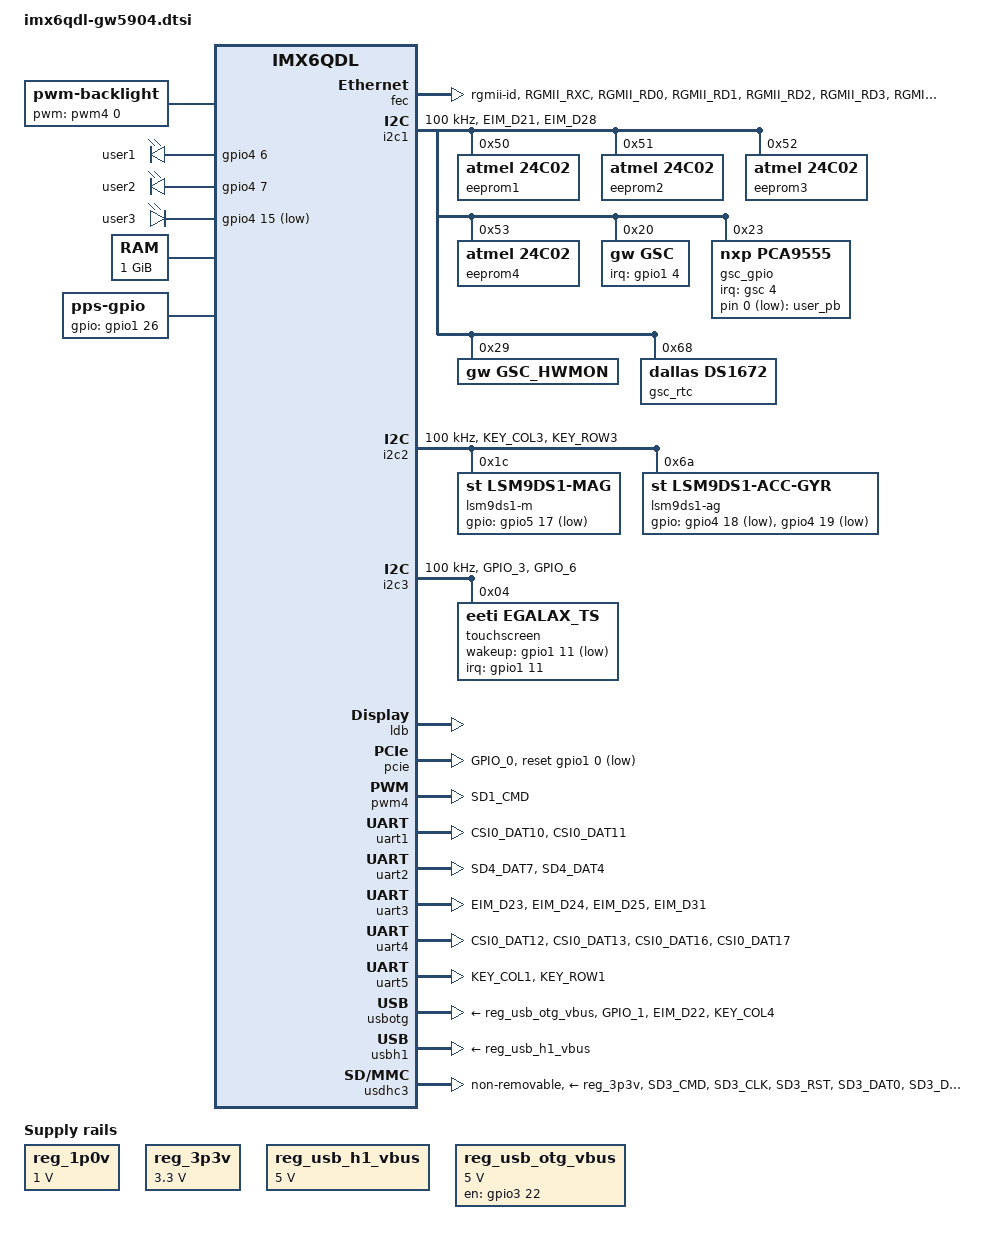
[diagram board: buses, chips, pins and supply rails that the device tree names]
/*
 * Copyright 2017 Gateworks Corporation
 *
 * The code contained herein is licensed under the GNU General Public
 * License. You may obtain a copy of the GNU General Public License
 * Version 2 or later at the following locations:
 *
 * http://www.opensource.org/licenses/gpl-license.html
 * http://www.gnu.org/copyleft/gpl.html
 */

#include <dt-bindings/gpio/gpio.h>

/ {
	/* these are used by bootloader for disabling nodes */
	aliases {
		led0 = &led0;
		led1 = &led1;
		led2 = &led2;
		usb0 = &usbh1;
		usb1 = &usbotg;
	};

	chosen {
		bootargs = "console=ttymxc1,115200";
	};

	backlight {
		compatible = "pwm-backlight";
		pwms = <&pwm4 0 5000000>;
		brightness-levels = <0 4 8 16 32 64 128 255>;
		default-brightness-level = <7>;
	};

	leds {
		compatible = "gpio-leds";
		pinctrl-names = "default";
		pinctrl-0 = <&pinctrl_gpio_leds>;

		led0: user1 {
			label = "user1";
			gpios = <&gpio4 6 GPIO_ACTIVE_HIGH>; /* MX6_PANLEDG */
			default-state = "on";
			linux,default-trigger = "heartbeat";
		};

		led1: user2 {
			label = "user2";
			gpios = <&gpio4 7 GPIO_ACTIVE_HIGH>; /* MX6_PANLEDR */
			default-state = "off";
		};

		led2: user3 {
			label = "user3";
			gpios = <&gpio4 15 GPIO_ACTIVE_LOW>; /* MX6_LOCLED# */
			default-state = "off";
		};
	};

	gpio_keys {
		compatible = "gpio-keys";
		#address-cells = <1>;
		#size-cells = <0>;

		user_pb {
			label = "user_pb";

			gpios = <&gsc_gpio 0 GPIO_ACTIVE_LOW>;
			linux,code = <256>;
		};
	};

	memory {
		reg = <0x10000000 0x40000000>;
	};

	pps {
		compatible = "pps-gpio";
		pinctrl-names = "default";
		pinctrl-0 = <&pinctrl_pps>;
		gpios = <&gpio1 26 GPIO_ACTIVE_HIGH>;
		status = "okay";
	};

	reg_1p0v: regulator-1p0v {
		compatible = "regulator-fixed";
		regulator-name = "1P0V";
		regulator-min-microvolt = <1000000>;
		regulator-max-microvolt = <1000000>;
		regulator-always-on;
	};

	reg_3p3v: regulator-3p3v {
		compatible = "regulator-fixed";
		regulator-name = "3P3V";
		regulator-min-microvolt = <3300000>;
		regulator-max-microvolt = <3300000>;
		regulator-always-on;
	};

	reg_usb_h1_vbus: regulator-usb-h1-vbus {
		compatible = "regulator-fixed";
		regulator-name = "usb_h1_vbus";
		regulator-min-microvolt = <5000000>;
		regulator-max-microvolt = <5000000>;
		regulator-always-on;
	};

	reg_usb_otg_vbus: regulator-usb-otg-vbus {
		compatible = "regulator-fixed";
		regulator-name = "usb_otg_vbus";
		regulator-min-microvolt = <5000000>;
		regulator-max-microvolt = <5000000>;
		gpio = <&gpio3 22 GPIO_ACTIVE_HIGH>;
		enable-active-high;
	};

	dsa {
		compatible = "marvell,dsa";
		#address-cells = <2>;
		#size-cells = <0>;

		dsa,ethernet = <&fec>;
		dsa,mii-bus = <&mdio>;

		switch@0 {
			#address-cells = <1>;
			#size-cells = <0>;
			reg = <0 0>; /* MDIO address 0, switch 0 in tree */

			port@0 {
				reg = <0>;
				label = "lan4";
			};

			port@1 {
				reg = <1>;
				label = "lan3";
			};

			port@2 {
				reg = <2>;
				label = "lan2";
			};

			port@3 {
				reg = <3>;
				label = "lan1";
			};

			port@5 {
				reg = <5>;
				label = "cpu";
				fixed-link {
					speed = <1000>;
					full-duplex;
				};
			};
		};
	};
};

&clks {
	assigned-clocks = <&clks IMX6QDL_CLK_LDB_DI0_SEL>,
			  <&clks IMX6QDL_CLK_LDB_DI1_SEL>;
	assigned-clock-parents = <&clks IMX6QDL_CLK_PLL3_USB_OTG>,
				 <&clks IMX6QDL_CLK_PLL3_USB_OTG>;
};

&fec {
	pinctrl-names = "default";
	pinctrl-0 = <&pinctrl_enet>;
	phy-mode = "rgmii-id";
	status = "okay";

	mdio: mdio {
		#address-cells = <1>;
		#size-cells = <0>;
	};
};

&i2c1 {
	clock-frequency = <100000>;
	pinctrl-names = "default";
	pinctrl-0 = <&pinctrl_i2c1>;
	status = "okay";

	eeprom1: eeprom@50 {
		compatible = "atmel,24c02";
		reg = <0x50>;
		pagesize = <16>;
	};

	eeprom2: eeprom@51 {
		compatible = "atmel,24c02";
		reg = <0x51>;
		pagesize = <16>;
	};

	eeprom3: eeprom@52 {
		compatible = "atmel,24c02";
		reg = <0x52>;
		pagesize = <16>;
	};

	eeprom4: eeprom@53 {
		compatible = "atmel,24c02";
		reg = <0x53>;
		pagesize = <16>;
	};

	gsc: gsc@20 {
		compatible = "gw,gsc";
		reg = <0x20>;
		interrupt-parent = <&gpio1>;
		interrupts = <4 1>;
		interrupt-controller;
		#interrupt-cells = <1>;

		/* GSC watchdog */
		watchdog {
			compatible = "gw,gsc_wdt";
			status = "okay";
		};

		/* Linux input events from GSC interrupt events */
		input {
			compatible = "gw,gsc_input";
			interrupt-parent = <&gsc>;
			interrupts = <0 1 2 5 7>;
			interrupt-names = "button", "key-erased", "eeprom-wp", "tamper", "button-held";
			status = "okay";
		};
	};

	gsc_gpio: pca9555@23 {
		compatible = "nxp,pca9555";
		reg = <0x23>;
		gpio-controller;
		#gpio-cells = <2>;
		interrupt-parent = <&gsc>;
		interrupts = <4>;
	};

	gsc_hwmon: hwmon@29 {
		compatible = "gw,gsc_hwmon";
		reg = <0x29>;
	};

	gsc_rtc: ds1672@68 {
		compatible = "dallas,ds1672";
		reg = <0x68>;
	};
};

&i2c2 {
	clock-frequency = <100000>;
	pinctrl-names = "default";
	pinctrl-0 = <&pinctrl_i2c2>;
	status = "okay";

	/* LSM9DS1 magnetic sensor */
	lsm9ds1-m@0x1c {
		compatible = "st,lsm9ds1-mag";
		reg = <0x1C>;
		pinctrl-names = "default";
		pinctrl-0 = <&pinctrl_imu_mag>;
		gpios = <&gpio5 17 GPIO_ACTIVE_LOW>; /* IRQ */
		rot-matrix = /bits/ 16 <(1) (0) (0)
			(0) (1) (0)
			(0) (0) (1)>;
		poll-interval = <100>;
		min-interval = <13>;
		fs-range = <0>;
	};

	/* LSM9DS1 accelerometer/gyroscope sensor */
	lsm9ds1-ag@0x6a {
		compatible = "st,lsm9ds1-acc-gyr";
		reg = <0x6A>;
		pinctrl-names = "default";
		pinctrl-0 = <&pinctrl_imu_acc>;
		gpios = <&gpio4 18 GPIO_ACTIVE_LOW>, /* INT1 */
		        <&gpio4 19 GPIO_ACTIVE_LOW>; /* INT2 */
		rot-matrix = /bits/ 16 <(1) (0) (0)
			(0) (1) (0)
			(0) (0) (1)>;
		g-poll-interval = <100>;
		g-min-interval = <2>;
		g-fs-range = <0>;
		x-poll-interval = <100>;
		x-min-interval = <1>;
		x-fs-range = <0>;
		aa-filter-bw = <0>;
	};
};

&i2c3 {
	clock-frequency = <100000>;
	pinctrl-names = "default";
	pinctrl-0 = <&pinctrl_i2c3>;
	status = "okay";

	touchscreen: egalax_ts@04 {
		compatible = "eeti,egalax_ts";
		reg = <0x04>;
		interrupt-parent = <&gpio1>;
		interrupts = <11 IRQ_TYPE_EDGE_FALLING>;
		wakeup-gpios = <&gpio1 11 GPIO_ACTIVE_LOW>;
	};
};

&ldb {
	status = "okay";

	lvds-channel@0 {
		fsl,data-mapping = "spwg";
		fsl,data-width = <18>;
		status = "okay";

		display-timings {
			native-mode = <&timing0>;
			timing0: hsd100pxn1 {
				clock-frequency = <65000000>;
				hactive = <1024>;
				vactive = <768>;
				hback-porch = <220>;
				hfront-porch = <40>;
				vback-porch = <21>;
				vfront-porch = <7>;
				hsync-len = <60>;
				vsync-len = <10>;
			};
		};
	};
};

&pcie {
	pinctrl-names = "default";
	pinctrl-0 = <&pinctrl_pcie>;
	reset-gpio = <&gpio1 0 GPIO_ACTIVE_LOW>;
	status = "okay";
};

&pwm2 {
	pinctrl-names = "default";
	pinctrl-0 = <&pinctrl_pwm2>; /* MX6_DIO1 */
	status = "disabled";
};

&pwm3 {
	pinctrl-names = "default";
	pinctrl-0 = <&pinctrl_pwm3>; /* MX6_DIO2 */
	status = "disabled";
};

&pwm4 {
	pinctrl-names = "default";
	pinctrl-0 = <&pinctrl_pwm4>;
	status = "okay";
};

&uart1 {
	pinctrl-names = "default";
	pinctrl-0 = <&pinctrl_uart1>;
	status = "okay";
};

&uart2 {
	pinctrl-names = "default";
	pinctrl-0 = <&pinctrl_uart2>;
	status = "okay";
};

&uart3 {
	pinctrl-names = "default";
	pinctrl-0 = <&pinctrl_uart3>;
	fsl,uart-has-rtscts;
	status = "okay";
};

&uart4 {
	pinctrl-names = "default";
	pinctrl-0 = <&pinctrl_uart4>;
	fsl,uart-has-rtscts;
	status = "okay";
};

&uart5 {
	pinctrl-names = "default";
	pinctrl-0 = <&pinctrl_uart5>;
	status = "okay";
};

&usbotg {
	vbus-supply = <&reg_usb_otg_vbus>;
	pinctrl-names = "default";
	pinctrl-0 = <&pinctrl_usbotg>;
	disable-over-current;
	status = "okay";
};

&usbh1 {
	vbus-supply = <&reg_usb_h1_vbus>;
	status = "okay";
};

&usdhc3 {
	pinctrl-names = "default", "state_100mhz", "state_200mhz";
	pinctrl-0 = <&pinctrl_usdhc3>;
	pinctrl-1 = <&pinctrl_usdhc3_100mhz>;
	pinctrl-2 = <&pinctrl_usdhc3_200mhz>;
	non-removable;
	vmmc-supply = <&reg_3p3v>;
	keep-power-in-suspend;
	status = "okay";
};

&wdog1 {
	pinctrl-names = "default";
	pinctrl-0 = <&pinctrl_wdog>;
	fsl,ext-reset-output;
};

&iomuxc {
	imx6qdl-gw5904 {
		pinctrl_enet: enetgrp {
			fsl,pins = <
				MX6QDL_PAD_RGMII_RXC__RGMII_RXC		0x1b0b0
				MX6QDL_PAD_RGMII_RD0__RGMII_RD0		0x1b0b0
				MX6QDL_PAD_RGMII_RD1__RGMII_RD1		0x1b0b0
				MX6QDL_PAD_RGMII_RD2__RGMII_RD2		0x1b0b0
				MX6QDL_PAD_RGMII_RD3__RGMII_RD3		0x1b0b0
				MX6QDL_PAD_RGMII_RX_CTL__RGMII_RX_CTL	0x1b0b0
				MX6QDL_PAD_RGMII_TXC__RGMII_TXC		0x1b0b0
				MX6QDL_PAD_RGMII_TD0__RGMII_TD0		0x1b0b0
				MX6QDL_PAD_RGMII_TD1__RGMII_TD1		0x1b0b0
				MX6QDL_PAD_RGMII_TD2__RGMII_TD2		0x1b0b0
				MX6QDL_PAD_RGMII_TD3__RGMII_TD3		0x1b0b0
				MX6QDL_PAD_RGMII_TX_CTL__RGMII_TX_CTL	0x1b0b0
				MX6QDL_PAD_ENET_REF_CLK__ENET_TX_CLK	0x1b0b0
				MX6QDL_PAD_ENET_MDIO__ENET_MDIO		0x1b0b0
				MX6QDL_PAD_ENET_MDC__ENET_MDC		0x1b0b0
				MX6QDL_PAD_GPIO_16__ENET_REF_CLK	0x4001b0a8
				MX6QDL_PAD_ENET_TXD0__GPIO1_IO30	0x4001b0b0 /* PHY_RST# */
			>;
		};

		pinctrl_gpio_leds: gpioledsgrp {
			fsl,pins = <
				MX6QDL_PAD_KEY_COL0__GPIO4_IO06		0x1b0b0
				MX6QDL_PAD_KEY_ROW0__GPIO4_IO07		0x1b0b0
				MX6QDL_PAD_KEY_ROW4__GPIO4_IO15		0x1b0b0
			>;
		};

		pinctrl_i2c1: i2c1grp {
			fsl,pins = <
				MX6QDL_PAD_EIM_D21__I2C1_SCL		0x4001b8b1
				MX6QDL_PAD_EIM_D28__I2C1_SDA		0x4001b8b1
			>;
		};

		pinctrl_i2c2: i2c2grp {
			fsl,pins = <
				MX6QDL_PAD_KEY_COL3__I2C2_SCL		0x4001b8b1
				MX6QDL_PAD_KEY_ROW3__I2C2_SDA		0x4001b8b1
			>;
		};

		pinctrl_i2c3: i2c3grp {
			fsl,pins = <
				MX6QDL_PAD_GPIO_3__I2C3_SCL		0x4001b8b1
				MX6QDL_PAD_GPIO_6__I2C3_SDA		0x4001b8b1
			>;
		};

		pinctrl_imu_acc: gpioimxaccgrp {
			fsl,pins = <
				MX6QDL_PAD_DI0_PIN2__GPIO4_IO18	0x1b0b0 /* INT1 */
				MX6QDL_PAD_DI0_PIN3__GPIO4_IO19	0x1b0b0 /* INT2 */
			>;
		};

		pinctrl_imu_mag: gpioimxmaggrp {
			fsl,pins = <
				MX6QDL_PAD_DISP0_DAT23__GPIO5_IO17 0x1b0b0 /* IRQ */
				MX6QDL_PAD_DI0_PIN4__GPIO4_IO20    0x1b0b0 /* data ready */
			>;
		};

		pinctrl_pcie: pciegrp {
			fsl,pins = <
				MX6QDL_PAD_GPIO_0__GPIO1_IO00	0x1b0b0 /* PCIE RST */
			>;
		};

		pinctrl_pmic: pmicgrp {
			fsl,pins = <
				MX6QDL_PAD_GPIO_8__GPIO1_IO08	0x1b0b0 /* PMIC_IRQ# */
			>;
		};

		pinctrl_pps: ppsgrp {
			fsl,pins = <
				MX6QDL_PAD_ENET_RXD1__GPIO1_IO26	0x1b0b1
			>;
		};

		pinctrl_pwm2: pwm2grp {
			fsl,pins = <
				MX6QDL_PAD_SD1_DAT2__PWM2_OUT		0x1b0b1
			>;
		};

		pinctrl_pwm3: pwm3grp {
			fsl,pins = <
				MX6QDL_PAD_SD1_DAT1__PWM3_OUT		0x1b0b1
			>;
		};

		pinctrl_pwm4: pwm4grp {
			fsl,pins = <
				MX6QDL_PAD_SD1_CMD__PWM4_OUT		0x1b0b1
			>;
		};

		pinctrl_uart1: uart1grp {
			fsl,pins = <
				MX6QDL_PAD_CSI0_DAT10__UART1_TX_DATA	0x1b0b1
				MX6QDL_PAD_CSI0_DAT11__UART1_RX_DATA	0x1b0b1
			>;
		};

		pinctrl_uart2: uart2grp {
			fsl,pins = <
				MX6QDL_PAD_SD4_DAT7__UART2_TX_DATA	0x1b0b1
				MX6QDL_PAD_SD4_DAT4__UART2_RX_DATA	0x1b0b1
			>;
		};

		pinctrl_uart3: uart3grp {
			fsl,pins = <
				MX6QDL_PAD_EIM_D23__UART3_CTS_B         0x1b0b1
				MX6QDL_PAD_EIM_D24__UART3_TX_DATA       0x1b0b1
				MX6QDL_PAD_EIM_D25__UART3_RX_DATA       0x1b0b1
				MX6QDL_PAD_EIM_D31__UART3_RTS_B         0x1b0b1
			>;
		};

		pinctrl_uart4: uart4grp {
			fsl,pins = <
				MX6QDL_PAD_CSI0_DAT12__UART4_TX_DATA    0x1b0b1
				MX6QDL_PAD_CSI0_DAT13__UART4_RX_DATA    0x1b0b1
				MX6QDL_PAD_CSI0_DAT16__UART4_RTS_B      0x1b0b1
				MX6QDL_PAD_CSI0_DAT17__UART4_CTS_B      0x1b0b1
			>;
		};

		pinctrl_uart5: uart5grp {
			fsl,pins = <
				MX6QDL_PAD_KEY_COL1__UART5_TX_DATA	0x1b0b1
				MX6QDL_PAD_KEY_ROW1__UART5_RX_DATA	0x1b0b1
			>;
		};

		pinctrl_usbotg: usbotggrp {
			fsl,pins = <
				MX6QDL_PAD_GPIO_1__USB_OTG_ID		0x17059
				MX6QDL_PAD_EIM_D22__GPIO3_IO22		0x1b0b0 /* PWR_EN */
				MX6QDL_PAD_KEY_COL4__GPIO4_IO14		0x1b0b0 /* OC */
			>;
		};

		pinctrl_usdhc3: usdhc3grp {
			fsl,pins = <
				MX6QDL_PAD_SD3_CMD__SD3_CMD		0x17059
				MX6QDL_PAD_SD3_CLK__SD3_CLK		0x10059
				MX6QDL_PAD_SD3_RST__SD3_RESET		0x10059
				MX6QDL_PAD_SD3_DAT0__SD3_DATA0		0x17059
				MX6QDL_PAD_SD3_DAT1__SD3_DATA1		0x17059
				MX6QDL_PAD_SD3_DAT2__SD3_DATA2		0x17059
				MX6QDL_PAD_SD3_DAT3__SD3_DATA3		0x17059
				MX6QDL_PAD_SD3_DAT4__SD3_DATA4		0x17059
				MX6QDL_PAD_SD3_DAT5__SD3_DATA5		0x17059
				MX6QDL_PAD_SD3_DAT6__SD3_DATA6		0x17059
				MX6QDL_PAD_SD3_DAT7__SD3_DATA7		0x17059
			>;
		};

		pinctrl_usdhc3_100mhz: usdhc3grp100mhz {
			fsl,pins = <
				MX6QDL_PAD_SD3_CMD__SD3_CMD		0x170b9
				MX6QDL_PAD_SD3_CLK__SD3_CLK		0x100b9
				MX6QDL_PAD_SD3_RST__SD3_RESET		0x100b9
				MX6QDL_PAD_SD3_DAT0__SD3_DATA0		0x170b9
				MX6QDL_PAD_SD3_DAT1__SD3_DATA1		0x170b9
				MX6QDL_PAD_SD3_DAT2__SD3_DATA2		0x170b9
				MX6QDL_PAD_SD3_DAT3__SD3_DATA3		0x170b9
				MX6QDL_PAD_SD3_DAT4__SD3_DATA4		0x170b9
				MX6QDL_PAD_SD3_DAT5__SD3_DATA5		0x170b9
				MX6QDL_PAD_SD3_DAT6__SD3_DATA6		0x170b9
				MX6QDL_PAD_SD3_DAT7__SD3_DATA7		0x170b9
			>;
		};

		pinctrl_usdhc3_200mhz: usdhc3grp200mhz {
			fsl,pins = <
				MX6QDL_PAD_SD3_CMD__SD3_CMD		0x170f9
				MX6QDL_PAD_SD3_CLK__SD3_CLK		0x100f9
				MX6QDL_PAD_SD3_RST__SD3_RESET		0x100f9
				MX6QDL_PAD_SD3_DAT0__SD3_DATA0		0x170f9
				MX6QDL_PAD_SD3_DAT1__SD3_DATA1		0x170f9
				MX6QDL_PAD_SD3_DAT2__SD3_DATA2		0x170f9
				MX6QDL_PAD_SD3_DAT3__SD3_DATA3		0x170f9
				MX6QDL_PAD_SD3_DAT4__SD3_DATA4		0x170f9
				MX6QDL_PAD_SD3_DAT5__SD3_DATA5		0x170f9
				MX6QDL_PAD_SD3_DAT6__SD3_DATA6		0x170f9
				MX6QDL_PAD_SD3_DAT7__SD3_DATA7		0x170f9
			>;
		};

		pinctrl_wdog: wdoggrp {
			fsl,pins = <
				MX6QDL_PAD_DISP0_DAT8__WDOG1_B		0x1b0b0
			>;
		};
	};
};
